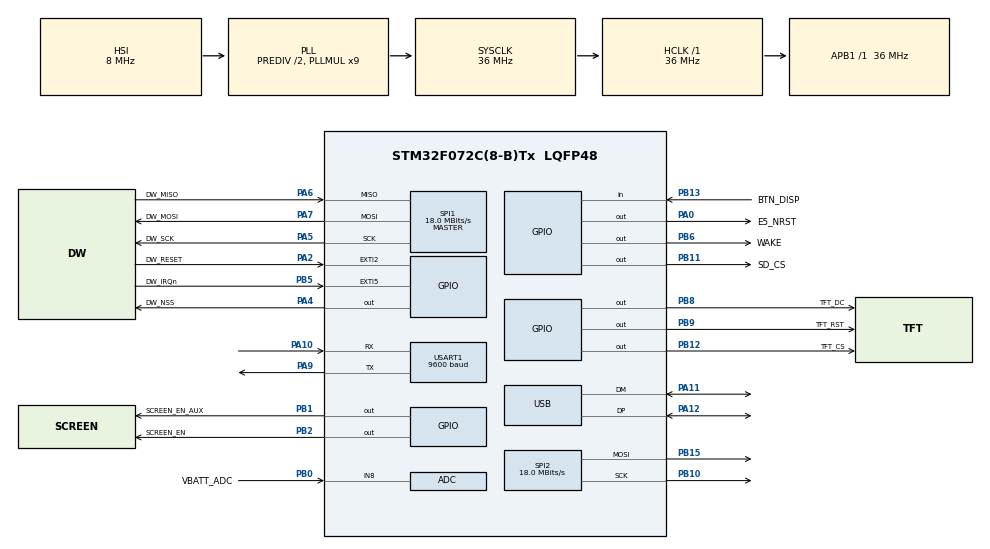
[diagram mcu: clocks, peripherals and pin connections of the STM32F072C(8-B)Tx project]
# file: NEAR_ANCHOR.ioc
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ADC.ClockPrescaler=ADC_CLOCK_ASYNC_DIV1
ADC.EOCSelection=ADC_EOC_SEQ_CONV
Dma.Request0=USART1_RX
Dma.Request1=SPI2_TX
Dma.SPI2_TX.1.Direction=DMA_MEMORY_TO_PERIPH
Dma.SPI2_TX.1.Instance=DMA1_Channel5
Dma.SPI2_TX.1.MemDataAlignment=DMA_MDATAALIGN_BYTE
Dma.SPI2_TX.1.MemInc=DMA_MINC_ENABLE
Dma.SPI2_TX.1.Mode=DMA_NORMAL
Dma.SPI2_TX.1.PeriphDataAlignment=DMA_PDATAALIGN_BYTE
Dma.SPI2_TX.1.PeriphInc=DMA_PINC_DISABLE
Dma.SPI2_TX.1.Priority=DMA_PRIORITY_LOW
Dma.USART1_RX.0.Direction=DMA_PERIPH_TO_MEMORY
Dma.USART1_RX.0.Instance=DMA1_Channel3
Dma.USART1_RX.0.MemDataAlignment=DMA_MDATAALIGN_BYTE
Dma.USART1_RX.0.MemInc=DMA_MINC_ENABLE
Dma.USART1_RX.0.Mode=DMA_CIRCULAR
Dma.USART1_RX.0.PeriphDataAlignment=DMA_PDATAALIGN_BYTE
Dma.USART1_RX.0.PeriphInc=DMA_PINC_DISABLE
Dma.USART1_RX.0.Priority=DMA_PRIORITY_LOW
Mcu.Family=STM32F0
Mcu.Name=STM32F072C(8-B)Tx
Mcu.Package=LQFP48
NVIC.DMA1_Channel2_3_IRQn=true\:0\:0\:false\:false\:true\:false\:true\:true
NVIC.DMA1_Channel4_5_6_7_IRQn=true\:0\:0\:false\:false\:true\:false\:true\:true
NVIC.EXTI2_3_IRQn=true\:0\:0\:false\:false\:true\:true\:true\:true
NVIC.EXTI4_15_IRQn=true\:0\:0\:false\:false\:true\:true\:true\:true
NVIC.RCC_CRS_IRQn=true\:0\:0\:false\:false\:true\:true\:false\:true
NVIC.TIM3_IRQn=true\:0\:0\:false\:false\:true\:true\:true\:true
NVIC.USART1_IRQn=true\:0\:0\:false\:false\:true\:true\:true\:true
NVIC.USB_IRQn=true\:0\:0\:false\:false\:true\:true\:true\:true
PA0.GPIO_Label=E5_NRST
PA0.Signal=GPIO_Output
PA10.Mode=Asynchronous
PA10.Signal=USART1_RX
PA11.Mode=Device
PA11.Signal=USB_DM
PA12.Mode=Device
PA12.Signal=USB_DP
PA13.Mode=Serial_Wire
PA13.Signal=SYS_SWDIO
PA14.Mode=Serial_Wire
PA14.Signal=SYS_SWCLK
PA2.GPIO_Label=DW_RESET
PA2.Signal=GPXTI2
PA4.GPIO_Label=DW_NSS
PA4.GPIO_Speed=GPIO_SPEED_FREQ_HIGH
PA4.Signal=GPIO_Output
PA5.GPIO_Label=DW_SCK
PA5.Mode=Full_Duplex_Master
PA5.Signal=SPI1_SCK
PA6.GPIO_Label=DW_MISO
PA6.Mode=Full_Duplex_Master
PA6.Signal=SPI1_MISO
PA7.GPIO_Label=DW_MOSI
PA7.Mode=Full_Duplex_Master
PA7.Signal=SPI1_MOSI
PA9.Mode=Asynchronous
PA9.Signal=USART1_TX
PB0.GPIO_Label=VBATT_ADC
PB0.Mode=IN8
PB0.Signal=ADC_IN8
PB1.GPIO_Label=SCREEN_EN_AUX
PB1.Signal=GPIO_Output
PB10.Mode=TX_Only_Simplex_Unidirect_Master
PB10.Signal=SPI2_SCK
PB11.GPIO_Label=SD_CS
PB11.GPIO_Speed=GPIO_SPEED_FREQ_HIGH
PB11.Signal=GPIO_Output
PB12.GPIO_Label=TFT_CS
PB12.GPIO_PuPd=GPIO_PULLUP
PB12.GPIO_Speed=GPIO_SPEED_FREQ_HIGH
PB12.PinState=GPIO_PIN_SET
PB12.Signal=GPIO_Output
PB13.GPIO_Label=BTN_DISP
PB13.GPIO_PuPd=GPIO_PULLDOWN
PB13.Signal=GPIO_Input
PB14.Signal=SPI2_MISO
PB15.GPIO_PuPd=GPIO_NOPULL
PB15.Mode=TX_Only_Simplex_Unidirect_Master
PB15.Signal=SPI2_MOSI
PB2.GPIO_Label=SCREEN_EN
PB2.Signal=GPIO_Output
PB5.GPIO_Label=DW_IRQn
PB5.GPIO_PuPd=GPIO_PULLDOWN
PB5.Signal=GPXTI5
PB6.GPIO_Label=WAKE
PB6.Signal=GPIO_Output
PB8.GPIO_FM8=__NULL
PB8.GPIO_Label=TFT_DC
PB8.GPIO_PuPd=GPIO_NOPULL
PB8.GPIO_Speed=GPIO_SPEED_FREQ_HIGH
PB8.PinState=GPIO_PIN_SET
PB8.Signal=GPIO_Output
PB9.GPIO_FM9=__NULL
PB9.GPIO_Label=TFT_RST
PB9.GPIO_PuPd=GPIO_PULLUP
PB9.GPIO_Speed=GPIO_SPEED_FREQ_HIGH
PB9.PinState=GPIO_PIN_SET
PB9.Signal=GPIO_Output
PF0-OSC_IN.Mode=HSE-External-Oscillator
PF0-OSC_IN.Signal=RCC_OSC_IN
PF1-OSC_OUT.Mode=HSE-External-Oscillator
PF1-OSC_OUT.Signal=RCC_OSC_OUT
ProjectManager.HeapSize=0x200
ProjectManager.StackSize=0x400
ProjectManager.TargetToolchain=STM32CubeIDE
RCC.AHBFreq_Value=36000000
RCC.APB1Freq_Value=36000000
RCC.APB1TimFreq_Value=36000000
RCC.CodegenConfigPeriph=true
RCC.HCLKFreq_Value=36000000
RCC.LSE_Drive_CapabilityArg=+LSE_Drive_Capability
RCC.PLLDivider=RCC_PREDIV_DIV2
RCC.PLLMUL=RCC_PLL_MUL9
RCC.PWR_Regulator_Voltage_Scale=PWR_REGULATOR_VOLTAGE_SCALE1_BOOST
RCC.SYSCLKFreq_VALUE=36000000
RCC.SYSCLKSource=RCC_SYSCLKSOURCE_PLLCLK
RCC.USBFreq_Value=48000000
SPI1.BaudRatePrescaler=SPI_BAUDRATEPRESCALER_2
SPI1.CalculateBaudRate=18.0 MBits/s
SPI1.DataSize=SPI_DATASIZE_8BIT
SPI1.Direction=SPI_DIRECTION_2LINES
SPI1.Mode=SPI_MODE_MASTER
SPI1.VirtualType=VM_MASTER
SPI2.BaudRatePrescaler=SPI_BAUDRATEPRESCALER_2
SPI2.CLKPolarity=SPI_POLARITY_LOW
SPI2.CalculateBaudRate=18.0 MBits/s
SPI2.DataSize=SPI_DATASIZE_8BIT
SPI2.Direction=SPI_DIRECTION_2LINES
SPI2.Mode=SPI_MODE_MASTER
SPI2.VirtualType=VM_MASTER
TIM3.Period=360-1
TIM3.Prescaler=500-1
USART1.BaudRate=9600
USART1.OverrunDisableParam=ADVFEATURE_OVERRUN_DISABLE
USART1.SwapParam=ADVFEATURE_SWAP_DISABLE
USART1.VirtualMode-Asynchronous=VM_ASYNC
USB_DEVICE.CLASS_NAME_FS=CDC
USB_DEVICE.VirtualMode=Cdc
USB_DEVICE.VirtualModeFS=Cdc_FS
VP_TIM3_VS_ClockSourceINT.Mode=Internal
VP_USB_DEVICE_VS_USB_DEVICE_CDC_FS.Mode=CDC_FS
board=custom

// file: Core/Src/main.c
/* USER CODE BEGIN Header */
/**
 **************w***************************************************************
 * @file           : main.c
 * @brief          : Main program body
 ******************************************************************************
 * @attention
 *
 * Copyright (c) 2025 STMicroelectronics.
 * All rights reserved.
 *
 * This software is licensed under terms that can be found in the LICENSE file
 * in the root directory of this software component.
 * If no LICENSE file comes with this software, it is provided AS-IS.
 *
 ******************************************************************************
 */
/* USER CODE END Header */
#include "main.h"
#include "usb_device.h"

/* USER CODE BEGIN Includes */

#include "lcd.h"

/* USER CODE END Includes */

/* USER CODE BEGIN PD */
#define UART_RX_BUF_SIZE 1024
/* USER CODE END PD */

ADC_HandleTypeDef hadc;

SPI_HandleTypeDef hspi1;
SPI_HandleTypeDef hspi2;
DMA_HandleTypeDef hdma_spi2_tx;

TIM_HandleTypeDef htim3;

UART_HandleTypeDef huart1;
DMA_HandleTypeDef hdma_usart1_rx;

void SystemClock_Config(void);
static void MX_GPIO_Init(void);
static void MX_DMA_Init(void);
static void MX_USART1_UART_Init(void);
static void MX_SPI1_Init(void);
static void MX_ADC_Init(void);
static void MX_SPI2_Init(void);
static void MX_TIM3_Init(void);
/* USER CODE BEGIN PFP */

/* Sends AT commands over UART to the LoRa module */
void send_at_msg(char *msg)
{
  HAL_UART_Transmit_IT(&huart1, (uint8_t *)msg, strlen(msg));
}

void (*send_at_msg_ptr)(char *msg);

/* USER CODE END PFP */

/* USER CODE BEGIN 0 */

USBD_HandleTypeDef hUSBDDevice;
uint8_t uart_rx_buf[UART_RX_BUF_SIZE];

bool joined = 0;

char joined_msg[] = "+JOIN: Network joined";

/* USER CODE END 0 */

int main(void)
{

  /* USER CODE BEGIN 1 */
  send_at_msg_ptr = &send_at_msg;

  /* USER CODE END 1 */

  /* MCU Configuration--------------------------------------------------------*/

  /* Reset of all peripherals, Initializes the Flash interface and the Systick. */
  HAL_Init();

  /* Configure the system clock */
  SystemClock_Config();

  /* Initialize all configured peripherals */
  MX_GPIO_Init();
  MX_DMA_Init();
  MX_USART1_UART_Init();
  MX_SPI1_Init();
  MX_ADC_Init();
  MX_SPI2_Init();
  MX_USB_DEVICE_Init();
  MX_TIM3_Init();
  /* USER CODE BEGIN 2 */

  // Power to screen
  HAL_GPIO_WritePin(SCREEN_EN_GPIO_Port, SCREEN_EN_Pin, GPIO_PIN_SET);
  HAL_GPIO_WritePin(SCREEN_EN_AUX_GPIO_Port, SCREEN_EN_AUX_Pin, GPIO_PIN_SET);

  LCD_init();

  // Startup sequence for LoRa module
  HAL_GPIO_WritePin(E5_NRST_GPIO_Port, E5_NRST_Pin, GPIO_PIN_SET);
  HAL_Delay(2000);
  HAL_GPIO_WritePin(E5_NRST_GPIO_Port, E5_NRST_Pin, GPIO_PIN_RESET);
  HAL_Delay(100);
  HAL_GPIO_WritePin(E5_NRST_GPIO_Port, E5_NRST_Pin, GPIO_PIN_SET);
  HAL_Delay(100);

  // LoRa command reception callback
  HAL_UARTEx_ReceiveToIdle_DMA(&huart1, uart_rx_buf, UART_RX_BUF_SIZE);

  // Startup lcd text

  UG_FontSetTransparency(1);
  UG_FillScreen(C_BLACK);

  LCD_PutStr(50, 20, "NEAR ANCHOR", FONT_16X26, C_WHITE, C_BLACK);
  LCD_PutStr(50, 50, "DESIGNED BY:", FONT_16X26, C_WHITE, C_BLACK);
  LCD_PutStr(50, 80, "TERRY TAO", FONT_16X26, C_WHITE, C_BLACK);
  LCD_PutStr(50, 110, "THOR HELGESON", FONT_16X26, C_WHITE, C_BLACK);

#ifdef FLASH_TAG
  tag_main();
#endif

#ifdef FLASH_ANCHOR
  anchor_main(send_at_msg_ptr);
#endif

  /* USER CODE END 2 */

  /* Infinite loop */
  while (1)
  {

  }
}

void SystemClock_Config(void)
{
  RCC_OscInitTypeDef RCC_OscInitStruct = {0};
  RCC_ClkInitTypeDef RCC_ClkInitStruct = {0};
  RCC_PeriphCLKInitTypeDef PeriphClkInit = {0};

  /** Initializes the RCC Oscillators according to the specified parameters
  * in the RCC_OscInitTypeDef structure.
  */
  RCC_OscInitStruct.OscillatorType = RCC_OSCILLATORTYPE_HSI|RCC_OSCILLATORTYPE_HSI14
                              |RCC_OSCILLATORTYPE_HSI48;
  RCC_OscInitStruct.HSIState = RCC_HSI_ON;
  RCC_OscInitStruct.HSI48State = RCC_HSI48_ON;
  RCC_OscInitStruct.HSI14State = RCC_HSI14_ON;
  RCC_OscInitStruct.HSICalibrationValue = RCC_HSICALIBRATION_DEFAULT;
  RCC_OscInitStruct.HSI14CalibrationValue = 16;
  RCC_OscInitStruct.PLL.PLLState = RCC_PLL_ON;
  RCC_OscInitStruct.PLL.PLLSource = RCC_PLLSOURCE_HSI;
  RCC_OscInitStruct.PLL.PLLMUL = RCC_PLL_MUL9;
  RCC_OscInitStruct.PLL.PREDIV = RCC_PREDIV_DIV2;
  if (HAL_RCC_OscConfig(&RCC_OscInitStruct) != HAL_OK)
  {
    Error_Handler();
  }

  /** Initializes the CPU, AHB and APB buses clocks
  */
  RCC_ClkInitStruct.ClockType = RCC_CLOCKTYPE_HCLK|RCC_CLOCKTYPE_SYSCLK
                              |RCC_CLOCKTYPE_PCLK1;
  RCC_ClkInitStruct.SYSCLKSource = RCC_SYSCLKSOURCE_PLLCLK;
  RCC_ClkInitStruct.AHBCLKDivider = RCC_SYSCLK_DIV1;
  RCC_ClkInitStruct.APB1CLKDivider = RCC_HCLK_DIV1;

  if (HAL_RCC_ClockConfig(&RCC_ClkInitStruct, FLASH_LATENCY_1) != HAL_OK)
  {
    Error_Handler();
  }
  PeriphClkInit.PeriphClockSelection = RCC_PERIPHCLK_USB|RCC_PERIPHCLK_USART1;
  PeriphClkInit.Usart1ClockSelection = RCC_USART1CLKSOURCE_PCLK1;
  PeriphClkInit.UsbClockSelection = RCC_USBCLKSOURCE_HSI48;

  if (HAL_RCCEx_PeriphCLKConfig(&PeriphClkInit) != HAL_OK)
  {
    Error_Handler();
  }
}

static void MX_ADC_Init(void)
{

  ADC_ChannelConfTypeDef sConfig = {0};

  /** Configure the global features of the ADC (Clock, Resolution, Data Alignment and number of conversion)
  */
  hadc.Instance = ADC1;
  hadc.Init.ClockPrescaler = ADC_CLOCK_ASYNC_DIV1;
  hadc.Init.Resolution = ADC_RESOLUTION_12B;
  hadc.Init.DataAlign = ADC_DATAALIGN_RIGHT;
  hadc.Init.ScanConvMode = ADC_SCAN_DIRECTION_FORWARD;
  hadc.Init.EOCSelection = ADC_EOC_SEQ_CONV;
  hadc.Init.LowPowerAutoWait = DISABLE;
  hadc.Init.LowPowerAutoPowerOff = DISABLE;
  hadc.Init.ContinuousConvMode = DISABLE;
  hadc.Init.DiscontinuousConvMode = DISABLE;
  hadc.Init.ExternalTrigConv = ADC_SOFTWARE_START;
  hadc.Init.ExternalTrigConvEdge = ADC_EXTERNALTRIGCONVEDGE_NONE;
  hadc.Init.DMAContinuousRequests = DISABLE;
  hadc.Init.Overrun = ADC_OVR_DATA_PRESERVED;
  if (HAL_ADC_Init(&hadc) != HAL_OK)
  {
    Error_Handler();
  }

  /** Configure for the selected ADC regular channel to be converted.
  */
  sConfig.Channel = ADC_CHANNEL_8;
  sConfig.Rank = ADC_RANK_CHANNEL_NUMBER;
  sConfig.SamplingTime = ADC_SAMPLETIME_1CYCLE_5;
  if (HAL_ADC_ConfigChannel(&hadc, &sConfig) != HAL_OK)
  {
    Error_Handler();
  }

}

static void MX_SPI1_Init(void)
{

  /* SPI1 parameter configuration*/
  hspi1.Instance = SPI1;
  hspi1.Init.Mode = SPI_MODE_MASTER;
  hspi1.Init.Direction = SPI_DIRECTION_2LINES;
  hspi1.Init.DataSize = SPI_DATASIZE_8BIT;
  hspi1.Init.CLKPolarity = SPI_POLARITY_LOW;
  hspi1.Init.CLKPhase = SPI_PHASE_1EDGE;
  hspi1.Init.NSS = SPI_NSS_SOFT;
  hspi1.Init.BaudRatePrescaler = SPI_BAUDRATEPRESCALER_2;
  hspi1.Init.FirstBit = SPI_FIRSTBIT_MSB;
  hspi1.Init.TIMode = SPI_TIMODE_DISABLE;
  hspi1.Init.CRCCalculation = SPI_CRCCALCULATION_DISABLE;
  hspi1.Init.CRCPolynomial = 7;
  hspi1.Init.CRCLength = SPI_CRC_LENGTH_DATASIZE;
  hspi1.Init.NSSPMode = SPI_NSS_PULSE_ENABLE;
  if (HAL_SPI_Init(&hspi1) != HAL_OK)
  {
    Error_Handler();
  }

}

static void MX_SPI2_Init(void)
{

  /* SPI2 parameter configuration*/
  hspi2.Instance = SPI2;
  hspi2.Init.Mode = SPI_MODE_MASTER;
  hspi2.Init.Direction = SPI_DIRECTION_2LINES;
  hspi2.Init.DataSize = SPI_DATASIZE_8BIT;
  hspi2.Init.CLKPolarity = SPI_POLARITY_LOW;
  hspi2.Init.CLKPhase = SPI_PHASE_1EDGE;
  hspi2.Init.NSS = SPI_NSS_SOFT;
  hspi2.Init.BaudRatePrescaler = SPI_BAUDRATEPRESCALER_2;
  hspi2.Init.FirstBit = SPI_FIRSTBIT_MSB;
  hspi2.Init.TIMode = SPI_TIMODE_DISABLE;
  hspi2.Init.CRCCalculation = SPI_CRCCALCULATION_DISABLE;
  hspi2.Init.CRCPolynomial = 7;
  hspi2.Init.CRCLength = SPI_CRC_LENGTH_DATASIZE;
  hspi2.Init.NSSPMode = SPI_NSS_PULSE_ENABLE;
  if (HAL_SPI_Init(&hspi2) != HAL_OK)
  {
    Error_Handler();
  }

}

static void MX_TIM3_Init(void)
{

  TIM_ClockConfigTypeDef sClockSourceConfig = {0};
  TIM_MasterConfigTypeDef sMasterConfig = {0};

  htim3.Instance = TIM3;
  htim3.Init.Prescaler = 500-1;
  htim3.Init.CounterMode = TIM_COUNTERMODE_UP;
  htim3.Init.Period = 360-1;
  htim3.Init.ClockDivision = TIM_CLOCKDIVISION_DIV1;
  htim3.Init.AutoReloadPreload = TIM_AUTORELOAD_PRELOAD_DISABLE;
  if (HAL_TIM_Base_Init(&htim3) != HAL_OK)
  {
    Error_Handler();
  }
  sClockSourceConfig.ClockSource = TIM_CLOCKSOURCE_INTERNAL;
  if (HAL_TIM_ConfigClockSource(&htim3, &sClockSourceConfig) != HAL_OK)
  {
    Error_Handler();
  }
  sMasterConfig.MasterOutputTrigger = TIM_TRGO_RESET;
  sMasterConfig.MasterSlaveMode = TIM_MASTERSLAVEMODE_DISABLE;
  if (HAL_TIMEx_MasterConfigSynchronization(&htim3, &sMasterConfig) != HAL_OK)
  {
    Error_Handler();
  }

}

static void MX_USART1_UART_Init(void)
{

  huart1.Instance = USART1;
  huart1.Init.BaudRate = 9600;
  huart1.Init.WordLength = UART_WORDLENGTH_8B;
  huart1.Init.StopBits = UART_STOPBITS_1;
  huart1.Init.Parity = UART_PARITY_NONE;
  huart1.Init.Mode = UART_MODE_TX_RX;
  huart1.Init.HwFlowCtl = UART_HWCONTROL_NONE;
  huart1.Init.OverSampling = UART_OVERSAMPLING_16;
  huart1.Init.OneBitSampling = UART_ONE_BIT_SAMPLE_DISABLE;
  huart1.AdvancedInit.AdvFeatureInit = UART_ADVFEATURE_RXOVERRUNDISABLE_INIT;
  huart1.AdvancedInit.OverrunDisable = UART_ADVFEATURE_OVERRUN_DISABLE;
  if (HAL_UART_Init(&huart1) != HAL_OK)
  {
    Error_Handler();
  }

}

static void MX_DMA_Init(void)
{

  /* DMA controller clock enable */
  __HAL_RCC_DMA1_CLK_ENABLE();

  /* DMA interrupt init */
  /* DMA1_Channel2_3_IRQn interrupt configuration */
  HAL_NVIC_SetPriority(DMA1_Channel2_3_IRQn, 0, 0);
  HAL_NVIC_EnableIRQ(DMA1_Channel2_3_IRQn);
  /* DMA1_Channel4_5_6_7_IRQn interrupt configuration */
  HAL_NVIC_SetPriority(DMA1_Channel4_5_6_7_IRQn, 0, 0);
  HAL_NVIC_EnableIRQ(DMA1_Channel4_5_6_7_IRQn);

}

static void MX_GPIO_Init(void)
{
  GPIO_InitTypeDef GPIO_InitStruct = {0};

  /* GPIO Ports Clock Enable */
  __HAL_RCC_GPIOF_CLK_ENABLE();
  __HAL_RCC_GPIOA_CLK_ENABLE();
  __HAL_RCC_GPIOB_CLK_ENABLE();

  /*Configure GPIO pin Output Level */
  HAL_GPIO_WritePin(GPIOA, E5_NRST_Pin|DW_NSS_Pin, GPIO_PIN_RESET);

  /*Configure GPIO pin Output Level */
  HAL_GPIO_WritePin(GPIOB, SCREEN_EN_AUX_Pin|SCREEN_EN_Pin|SD_CS_Pin|WAKE_Pin, GPIO_PIN_RESET);

  /*Configure GPIO pin Output Level */
  HAL_GPIO_WritePin(GPIOB, TFT_CS_Pin|TFT_DC_Pin|TFT_RST_Pin, GPIO_PIN_SET);

  /*Configure GPIO pin : E5_NRST_Pin */
  GPIO_InitStruct.Pin = E5_NRST_Pin;
  GPIO_InitStruct.Mode = GPIO_MODE_OUTPUT_PP;
  GPIO_InitStruct.Pull = GPIO_NOPULL;
  GPIO_InitStruct.Speed = GPIO_SPEED_FREQ_LOW;
  HAL_GPIO_Init(E5_NRST_GPIO_Port, &GPIO_InitStruct);

  /*Configure GPIO pin : DW_RESET_Pin */
  GPIO_InitStruct.Pin = DW_RESET_Pin;
  GPIO_InitStruct.Mode = GPIO_MODE_IT_RISING;
  GPIO_InitStruct.Pull = GPIO_NOPULL;
  HAL_GPIO_Init(DW_RESET_GPIO_Port, &GPIO_InitStruct);

  /*Configure GPIO pin : DW_NSS_Pin */
  GPIO_InitStruct.Pin = DW_NSS_Pin;
  GPIO_InitStruct.Mode = GPIO_MODE_OUTPUT_PP;
  GPIO_InitStruct.Pull = GPIO_NOPULL;
  GPIO_InitStruct.Speed = GPIO_SPEED_FREQ_HIGH;
  HAL_GPIO_Init(DW_NSS_GPIO_Port, &GPIO_InitStruct);

  /*Configure GPIO pins : SCREEN_EN_AUX_Pin SCREEN_EN_Pin WAKE_Pin */
  GPIO_InitStruct.Pin = SCREEN_EN_AUX_Pin|SCREEN_EN_Pin|WAKE_Pin;
  GPIO_InitStruct.Mode = GPIO_MODE_OUTPUT_PP;
  GPIO_InitStruct.Pull = GPIO_NOPULL;
  GPIO_InitStruct.Speed = GPIO_SPEED_FREQ_LOW;
  HAL_GPIO_Init(GPIOB, &GPIO_InitStruct);

  /*Configure GPIO pins : SD_CS_Pin TFT_DC_Pin */
  GPIO_InitStruct.Pin = SD_CS_Pin|TFT_DC_Pin;
  GPIO_InitStruct.Mode = GPIO_MODE_OUTPUT_PP;
  GPIO_InitStruct.Pull = GPIO_NOPULL;
  GPIO_InitStruct.Speed = GPIO_SPEED_FREQ_HIGH;
  HAL_GPIO_Init(GPIOB, &GPIO_InitStruct);

  /*Configure GPIO pins : TFT_CS_Pin TFT_RST_Pin */
  GPIO_InitStruct.Pin = TFT_CS_Pin|TFT_RST_Pin;
  GPIO_InitStruct.Mode = GPIO_MODE_OUTPUT_PP;
  GPIO_InitStruct.Pull = GPIO_PULLUP;
  GPIO_InitStruct.Speed = GPIO_SPEED_FREQ_HIGH;
  HAL_GPIO_Init(GPIOB, &GPIO_InitStruct);

  /*Configure GPIO pin : BTN_DISP_Pin */
  GPIO_InitStruct.Pin = BTN_DISP_Pin;
  GPIO_InitStruct.Mode = GPIO_MODE_INPUT;
  GPIO_InitStruct.Pull = GPIO_PULLDOWN;
  HAL_GPIO_Init(BTN_DISP_GPIO_Port, &GPIO_InitStruct);

  /*Configure GPIO pin : DW_IRQn_Pin */
  GPIO_InitStruct.Pin = DW_IRQn_Pin;
  GPIO_InitStruct.Mode = GPIO_MODE_IT_RISING;
  GPIO_InitStruct.Pull = GPIO_PULLDOWN;
  HAL_GPIO_Init(DW_IRQn_GPIO_Port, &GPIO_InitStruct);

  /* EXTI interrupt init*/
  HAL_NVIC_SetPriority(EXTI2_3_IRQn, 0, 0);
  HAL_NVIC_EnableIRQ(EXTI2_3_IRQn);

  HAL_NVIC_SetPriority(EXTI4_15_IRQn, 0, 0);
  HAL_NVIC_EnableIRQ(EXTI4_15_IRQn);

}

/* USER CODE BEGIN 4 */

void HAL_UARTEx_RxEventCallback(UART_HandleTypeDef *huart, uint16_t offset)
{

  static uint16_t last_offset = 0;

  // Ignore if called twice (which will happen on every half buffer)
  if (offset != last_offset)
  {

    // If wrap around reset last_size
    if (offset < last_offset)
      last_offset = 0;

    CDC_Transmit_FS(uart_rx_buf + last_offset, offset - last_offset);

    static uint16_t response_offset = 0;

    for (uint16_t i = last_offset; i < offset; i++)
    {
      if (uart_rx_buf[i] == '+')
      {
        response_offset = i;
        if (offset < response_offset)
          response_offset = 0;
        if (memcmp(uart_rx_buf + response_offset, joined_msg, sizeof(joined_msg) - 1) == 0)
        {
          joined = 1;
          break;
        }
      }
    }

    last_offset = offset;
  }
}

/* USER CODE END 4 */

void Error_Handler(void)
{
  __disable_irq();
  while (1)
  {
  }
}
